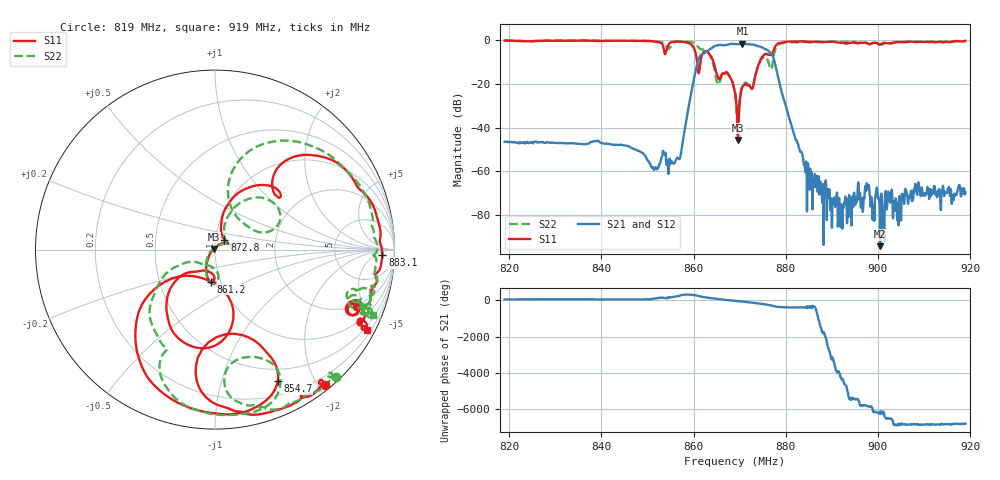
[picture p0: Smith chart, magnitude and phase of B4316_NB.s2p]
! Matrix data file written by TouchstoneData, EPCOS AG
! FILENAME: "LZ49B_3_NB.snp"
! COMMENT: "(TS/LZ49B_3_NB.s2p) EPCOS AG 06.03.2012 16:1"
! INFO: nport=2, nfreq=1601
! DATE: "Thu Apr  5 09:31:33 2012"
! USER: "Wee Chuan Tay"
! port | pin | signal
!  1  |  1  |  Input
!  2  |  4  |  Output
# MHZ S RI R 50
! freq  reS11 imS11  reS21 imS21  reS12 imS12  reS22 imS22
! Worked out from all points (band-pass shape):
!   1601 points, 819 MHz to 919 MHz, reference 50 ohm
!   highest |S21| = -1.71 dB at 870.6 MHz (marker M1); lowest = -94.3 dB at 900.5 MHz (marker M2)
!   |S21| within 3 dB of the highest: 863.2 MHz to 876.1 MHz (12.94 MHz wide, 1.49 % of centre)
!   lowest |S11| = -45.7 dB at 869.6 MHz (marker M3), VSWR 1.01, Z = 49.6 + j0.294 ohm
!   |S11| at or under -10 dB: 860.7731 MHz to 861.5114 MHz (738.3 kHz wide, 0.0857 % of centre); 864.3 MHz to 874.3 MHz (10.02 MHz wide, 1.15 % of centre)
!   |S22| runs from -41.9 to -0.2 dB; largest |S21 - S12| = 0
!   S11 on the Smith chart (normalised r, x): 819 MHz: 0.07, -2.10; 854.7 MHz: 0.36, -1.53; 861.2 MHz: 0.89, -0.33; 872.8 MHz: 1.10, +0.12; 883.1 MHz: 24, -11; 919 MHz: 0.39, -4.00
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819  0.6138 -0.755  0.00347 0.0032  0.00347 0.0032  0.6721 -0.71
835.6875  0.533 -0.8126  0.00305 0.00288  0.00305 0.00288  0.6 -0.7708
852.375  0.0857 -0.889  -0.000682 0.00102  -0.000682 0.00102  0.234 -0.8753
854.6875  0.3498 -0.7314  -0.00159 0.000324  -0.00159 0.000324  0.2199 -0.5983
857.1875  -0.00323 -0.912  -0.000189 -0.00225  -0.000189 -0.00225  0.1688 -0.9142
859.9375  -0.4398 -0.537  0.0318 -0.1031  0.0318 -0.1031  -0.2097 -0.8384
861.1875  -0.0246 -0.178  -0.2766 -0.2616  -0.2766 -0.2616  -0.2935 -0.5879
862.75  -0.1462 -0.5323  -0.4512 0.2883  -0.4512 0.2883  -0.3369 -0.4497
864.8125  -0.1534 -0.129  0.1554 0.7269  0.1554 0.7269  -0.1338 -0.0679
869  -0.0382 -0.0502  0.6486 -0.4818  0.6486 -0.4818  -0.0429 -0.0456
869.625  -0.00425 0.00297  0.5023 -0.6274  0.5023 -0.6274  -6.48e-05 0.00984
870.625  0.0788 0.0328  0.1808 -0.8011  0.1808 -0.8011  0.0807 0.03
872.75  0.0525 0.0561  -0.5688 -0.5475  -0.5688 -0.5475  0.0581 0.0546
876  0.3666 0.3037  -0.2078 0.5575  -0.2078 0.5575  0.3474 0.1327
878.25  0.6553 0.4969  0.1551 -0.0223  0.1551 -0.0223  0.4548 0.6016
883.125  0.9328 -0.0291  0.00234 -0.00156  0.00234 -0.00156  0.885 0.0775
885.6875  0.8956 -0.1481  0.000392 -0.00052  0.000392 -0.00052  0.8789 -0.0295
891.8125  0.8106 -0.3092  -6.52e-05 -3.38e-05  -6.52e-05 -3.38e-05  0.8862 -0.2072
897.6875  0.7687 -0.3659  0.000287 -0.000398  0.000287 -0.000398  0.7757 -0.3271
900.5  0.7386 -0.3042  -1.08e-05 -1.61e-05  -1.08e-05 -1.61e-05  0.7341 -0.2609
902.375  0.7839 -0.3138  0.00028 -0.000108  0.00028 -0.000108  0.8065 -0.2338
919  0.8454 -0.446  0.000151 0.000293  0.000151 0.000293  0.8807 -0.3646
